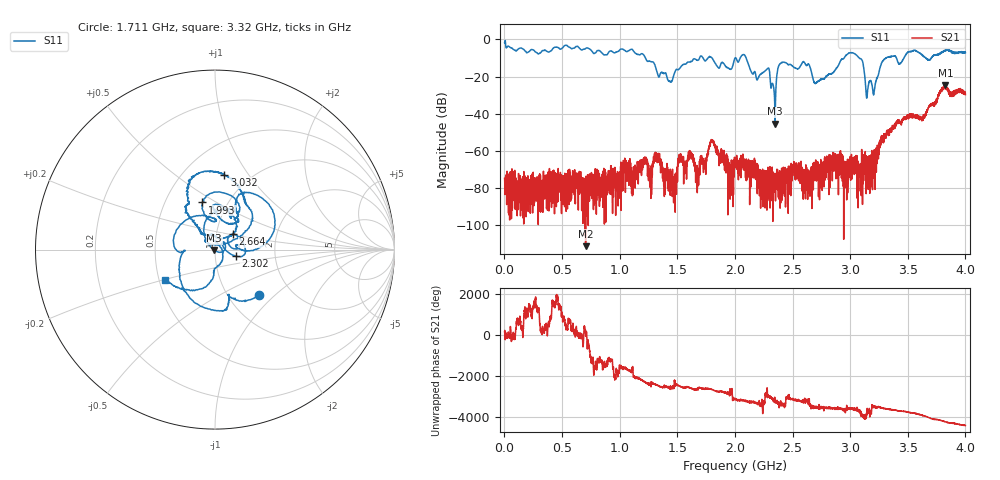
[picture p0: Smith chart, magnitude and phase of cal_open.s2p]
!Created with skrf (http://scikit-rf.org).
# GHz S RI R 50.0
!freq ReS11 ImS11 ReS21 ImS21 ReS12 ImS12 ReS22 ImS22
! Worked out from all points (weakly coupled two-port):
!   4000 points, 1 MHz to 4 GHz, reference 50 ohm
!   highest |S21| = -24.68 dB at 3.827 GHz (marker M1); lowest = -111.4 dB at 704 MHz (marker M2)
!   lowest |S11| = -45.4 dB at 2.349 GHz (marker M3), VSWR 1.01, Z = 49.6 - j0.292 ohm
!   |S11| at or under -10 dB: 1.224 GHz to 1.693 GHz (469.3 MHz wide, 32.2 % of centre); 2.097 GHz to 2.947 GHz (850.1 MHz wide, 33.7 % of centre); 3.078 GHz to 3.312 GHz (234.3 MHz wide, 7.33 % of centre) (the widest 3 of 8)
!   S12 and S22 are empty: the file has one direction only
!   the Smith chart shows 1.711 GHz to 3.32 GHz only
!   S11 on the Smith chart (normalised r, x): 1.711 GHz: 1.37, -0.80; 1.993 GHz: 0.76, +0.43; 2.302 GHz: 1.26, -0.09; 2.664 GHz: 1.20, +0.21; 3.032 GHz: 0.77, +0.78; 3.32 GHz: 0.54, -0.20
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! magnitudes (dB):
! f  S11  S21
! 1 MHz  -1.9  -74.9
! 668 MHz  -5.7  -77.4
! 704 MHz  -4.9  -111.4
! 1.105 GHz  -5.3  -80.9
! 1.334 GHz  -19.7  -61.4
! 1.468 GHz  -19.4  -88.0
! 1.527 GHz  -15.0  -63.7
! 1.711 GHz  -9.1  -66.2
! 1.802 GHz  -10.1  -54.6
! 1.993 GHz  -11.3  -68.2
! 2.001 GHz  -10.0  -66.5
! 2.302 GHz  -18.4  -71.8
! 2.349 GHz  -45.4  -82.0
! 2.407 GHz  -12.5  -86.8
! 2.664 GHz  -17.7  -71.5
! 2.667 GHz  -18.5  -75.9
! 3.032 GHz  -7.5  -64.6
! 3.151 GHz  -27.7  -66.5
! 3.32 GHz  -9.7  -50.3
! 3.334 GHz  -9.5  -49.2
! 3.827 GHz  -5.8  -24.7
! 4 GHz  -7.1  -29.8
